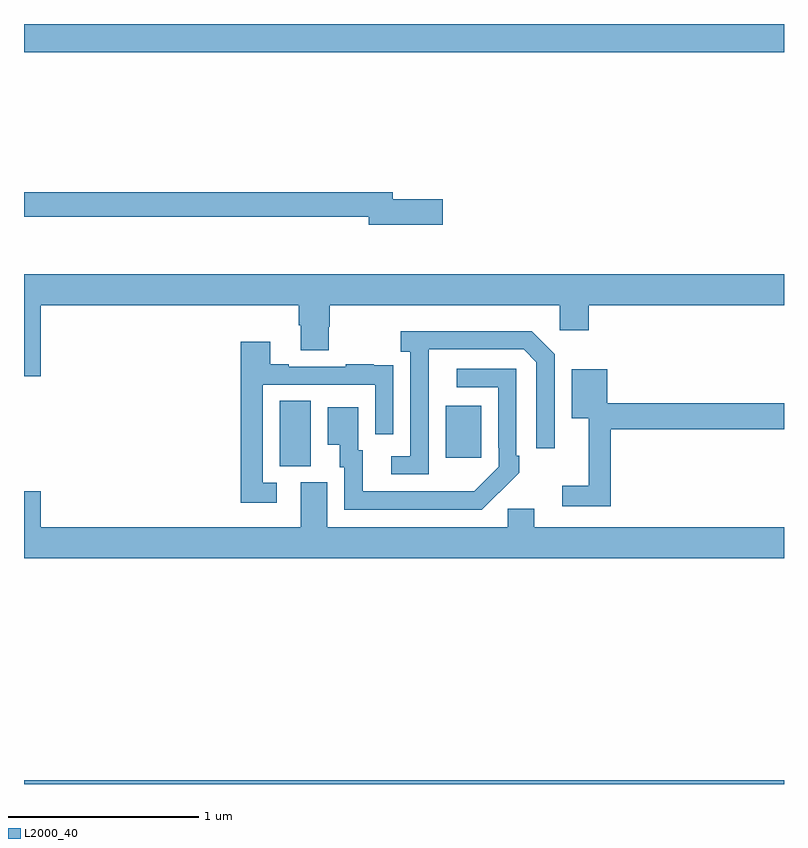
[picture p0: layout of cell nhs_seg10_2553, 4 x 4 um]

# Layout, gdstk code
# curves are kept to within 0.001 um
import gdstk
lib = gdstk.Library(unit=1e-6, precision=1e-09)
def R(c, l, rs):  # rectangles x0, y0, x1, y1
    for r in rs: c.add(gdstk.rectangle(r[:2], r[2:], *l))
def P(c, l, *ps):  # polygons
    for p in ps: c.add(gdstk.Polygon(p, *l))
L2000_40 = (2000, 40)

nhs_seg10_2553 = lib.new_cell('nhs_seg10_2553')
R(nhs_seg10_2553, L2000_40, [(249,1260.5,253,1260.52), (250.346,1262.173,250.51,1262.516), (251.219,1262.217,251.407,1262.491), (249,1264.352,253,1264.5)])
P(nhs_seg10_2553, L2000_40, [(251.203,1263.578),(250.942,1263.578),(250.942,1263.614),(249,1263.614),(249,1263.486),(250.814,1263.486),(250.814,1263.443),(251.203,1263.443)],
  [(249.088,1263.02),(250.445,1263.02),(250.445,1262.914),(250.457,1262.914),(250.457,1262.782),(250.605,1262.782),(250.605,1262.907),(250.61,1262.907),(250.61,1263.02),(251.82,1263.02),(251.82,1262.889),(251.972,1262.889),(251.972,1263.02),(253,1263.02),(253,1263.184),(249,1263.184),(249,1262.646),(249.088,1262.646)],
  [(251.13,1262.587),(251.131,1262.787),(251.631,1262.787),(251.697,1262.721),(251.697,1262.268),(251.793,1262.268),(251.793,1262.763),(251.672,1262.884),(250.983,1262.884),(250.983,1262.774),(251.034,1262.774),(251.034,1262.226),(250.932,1262.226),(250.932,1262.13),(251.13,1262.13)],
  [(250.33,1262.085),(250.257,1262.085),(250.257,1262.601),(250.848,1262.601),(250.848,1262.34),(250.944,1262.34),(250.944,1262.594),(250.943,1262.594),(250.943,1262.703),(250.841,1262.703),(250.841,1262.71),(250.693,1262.71),(250.693,1262.697),(250.393,1262.697),(250.393,1262.71),(250.297,1262.71),(250.297,1262.827),(250.141,1262.827),(250.141,1261.98),(250.33,1261.98)],
  [(251.501,1262.035),(251.502,1262.034),(251.607,1262.139),(251.607,1262.227),(251.592,1262.227),(251.592,1262.685),(251.277,1262.685),(251.277,1262.589),(251.496,1262.589),(251.496,1262.269),(251.499,1262.269),(251.499,1262.169),(251.371,1262.041),(250.783,1262.04),(250.783,1262.256),(250.759,1262.256),(250.759,1262.482),(250.598,1262.482),(250.598,1262.285),(250.661,1262.285),(250.661,1262.166),(250.686,1262.166),(250.686,1261.944),(251.41,1261.944)],
  [(252.089,1262.368),(253,1262.368),(253,1262.504),(252.069,1262.504),(252.069,1262.683),(251.882,1262.683),(251.882,1262.426),(251.972,1262.426),(251.972,1262.071),(251.832,1262.071),(251.832,1261.962),(252.089,1261.962)],
  [(253,1261.852),(251.686,1261.852),(251.686,1261.95),(251.547,1261.95),(251.547,1261.852),(250.597,1261.852),(250.597,1262.088),(250.457,1262.088),(250.457,1261.852),(249.088,1261.852),(249.088,1262.041),(249,1262.041),(249,1261.688),(253,1261.688)])

lib.write_gds('nhs_seg10_2553.gds')
